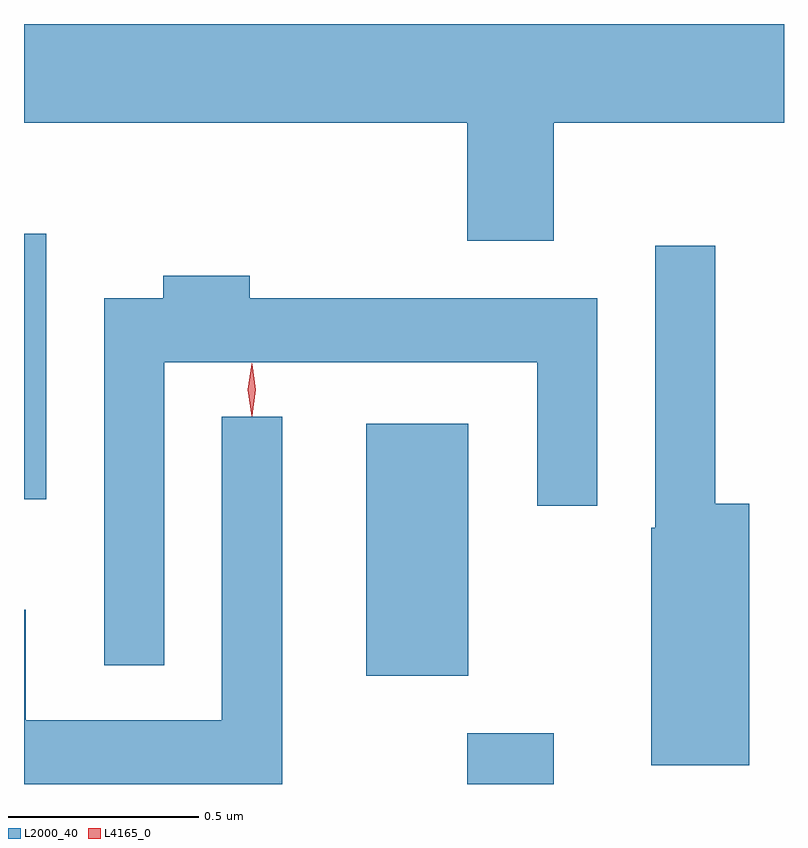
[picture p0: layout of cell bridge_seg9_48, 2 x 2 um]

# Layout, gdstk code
import gdstk
lib = gdstk.Library(unit=1e-6, precision=1e-09)
def R(c, l, rs):  # rectangles x0, y0, x1, y1
    for r in rs: c.add(gdstk.rectangle(r[:2], r[2:], *l))
def P(c, l, *ps):  # polygons
    for p in ps: c.add(gdstk.Polygon(p, *l))
L2000_40 = (2000, 40)
L4165_0 = (4165, 0)

bridge_seg9_48 = lib.new_cell('bridge_seg9_48')
R(bridge_seg9_48, L2000_40, [(1497.201,1985.636,1497.429,1985.769), (1496.936,1985.921,1497.204,1986.584), (1496.035,1986.386,1496.094,1987.084)])
P(bridge_seg9_48, L2000_40, [(1497.429,1987.376),(1498.035,1987.376),(1498.035,1987.636),(1496.035,1987.636),(1496.035,1987.376),(1497.201,1987.376),(1497.201,1987.066),(1497.429,1987.066)],
  [(1497.944,1986.374),(1497.854,1986.374),(1497.854,1987.053),(1497.696,1987.053),(1497.696,1986.31),(1497.686,1986.31),(1497.686,1985.686),(1497.944,1985.686)],
  [(1496.404,1986.746),(1497.386,1986.746),(1497.386,1986.368),(1497.544,1986.368),(1497.544,1986.914),(1496.629,1986.914),(1496.629,1986.974),(1496.401,1986.974),(1496.401,1986.914),(1496.246,1986.914),(1496.246,1985.948),(1496.404,1985.948)],
  [(1496.714,1986.603),(1496.556,1986.603),(1496.556,1985.804),(1496.039,1985.804),(1496.039,1986.094),(1496.035,1986.094),(1496.035,1985.636),(1496.714,1985.636)])
P(bridge_seg9_48, L4165_0, [(1496.635,1986.607),(1496.635,1986.607),(1496.625,1986.674),(1496.635,1986.74),(1496.635,1986.741),(1496.636,1986.74),(1496.645,1986.674),(1496.636,1986.607)],
  [(1496.634,1986.604),(1496.634,1986.604),(1496.624,1986.673),(1496.634,1986.742),(1496.634,1986.743),(1496.635,1986.742),(1496.644,1986.673),(1496.635,1986.604)])

lib.write_gds('bridge_seg9_48.gds')
